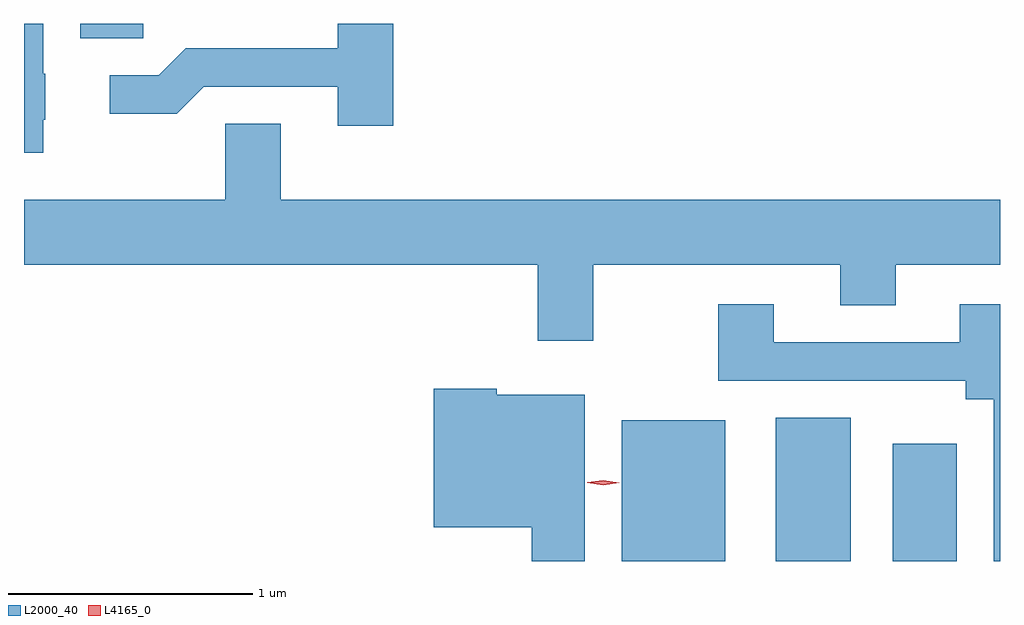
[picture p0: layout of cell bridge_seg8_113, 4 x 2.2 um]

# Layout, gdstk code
import gdstk
lib = gdstk.Library(unit=1e-6, precision=1e-09)
def R(c, l, rs):  # rectangles x0, y0, x1, y1
    for r in rs: c.add(gdstk.rectangle(r[:2], r[2:], *l))
def P(c, l, *ps):  # polygons
    for p in ps: c.add(gdstk.Polygon(p, *l))
L2000_40 = (2000, 40)
L4165_0 = (4165, 0)

bridge_seg8_113 = lib.new_cell('bridge_seg8_113')
R(bridge_seg8_113, L2000_40, [(1707.876,1806.342,1708.299,1806.919), (1708.506,1806.342,1708.814,1806.929), (1708.986,1806.342,1709.249,1806.824), (1705.656,1808.486,1705.914,1808.544)])
P(bridge_seg8_113, L2000_40, [(1705.504,1808.15),(1705.514,1808.15),(1705.514,1808.34),(1705.504,1808.34),(1705.504,1808.544),(1705.426,1808.544),(1705.426,1808.016),(1705.504,1808.016)],
  [(1706.939,1808.544),(1706.711,1808.544),(1706.711,1808.444),(1706.089,1808.444),(1705.979,1808.334),(1705.778,1808.334),(1705.778,1808.176),(1706.052,1808.176),(1706.162,1808.286),(1706.711,1808.286),(1706.711,1808.126),(1706.939,1808.126)],
  [(1707.759,1807.556),(1708.771,1807.556),(1708.771,1807.391),(1708.999,1807.391),(1708.999,1807.556),(1709.426,1807.556),(1709.426,1807.824),(1706.479,1807.824),(1706.479,1808.134),(1706.251,1808.134),(1706.251,1807.824),(1705.426,1807.824),(1705.426,1807.556),(1707.531,1807.556),(1707.531,1807.246),(1707.759,1807.246)],
  [(1709.426,1807.394),(1709.261,1807.394),(1709.261,1807.239),(1708.499,1807.239),(1708.499,1807.394),(1708.271,1807.394),(1708.271,1807.081),(1709.286,1807.081),(1709.286,1807.006),(1709.401,1807.006),(1709.401,1806.342),(1709.426,1806.342)],
  [(1707.724,1807.024),(1707.364,1807.024),(1707.364,1807.049),(1707.106,1807.049),(1707.106,1806.481),(1707.506,1806.481),(1707.506,1806.342),(1707.724,1806.342)])
P(bridge_seg8_113, L4165_0, [(1707.8,1806.654),(1707.734,1806.664),(1707.734,1806.665),(1707.734,1806.665),(1707.8,1806.674),(1707.866,1806.664),(1707.866,1806.664),(1707.866,1806.663)])

lib.write_gds('bridge_seg8_113.gds')
